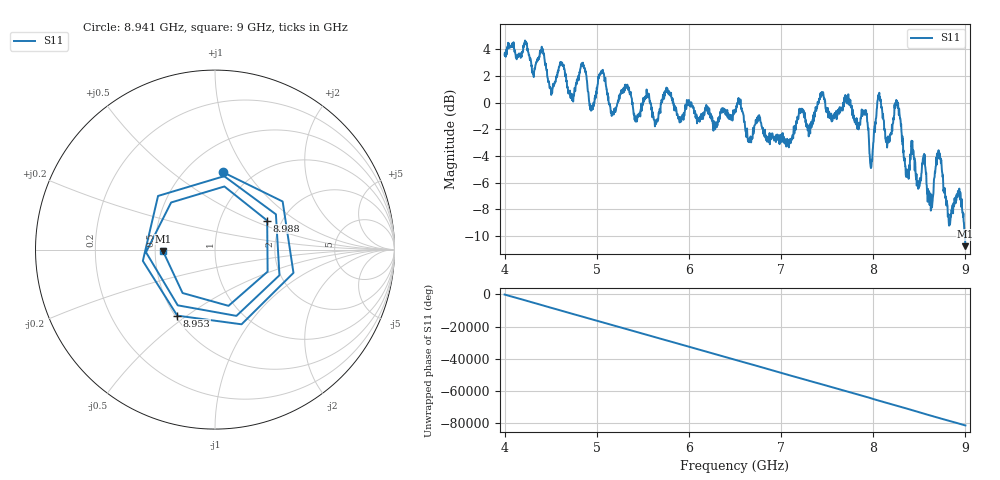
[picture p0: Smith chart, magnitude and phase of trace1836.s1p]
! Created with skrf 1.8.0 (http://scikit-rf.org).
# Hz S RI R 50.0
!freq ReS11 ImS11
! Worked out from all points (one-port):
!   1601 points, 4 GHz to 9 GHz, reference 50 ohm
!   lowest |S11| = -10.7 dB at 9 GHz (marker M1), VSWR 1.82, Z = 27.5 - j0.501 ohm
!   |S11| at or under -10 dB: 8.994867 GHz to end of sweep
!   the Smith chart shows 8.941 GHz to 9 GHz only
!   S11 on the Smith chart (normalised r, x): 8.941 GHz: 0.74, +0.78; 8.953 GHz: 0.51, -0.46; 8.988 GHz: 1.68, +0.61; 9 GHz: 0.55, -0.01
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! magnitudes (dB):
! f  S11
! 4 GHz  3.6
! 4.406 GHz  4.0
! 4.509 GHz  0.8
! 4.625 GHz  3.0
! 4.728 GHz  0.7
! 4.844 GHz  2.7
! 4.944 GHz  -0.5
! 5.053 GHz  2.2
! 5.159 GHz  -0.8
! 5.25 GHz  0.5
! 5.875 GHz  -0.8
! 6.5 GHz  -0.7
! 7.125 GHz  -2.4
! 7.75 GHz  0.1
! 7.912 GHz  -0.9
! 7.978 GHz  -4.9
! 8.059 GHz  0.6
! 8.156 GHz  -2.7
! 8.256 GHz  0.1
! 8.375 GHz  -5.3
! 8.55 GHz  -4.0
! 8.628 GHz  -7.3
! 8.716 GHz  -4.0
! 8.819 GHz  -8.9
! 8.941 GHz  -7.3
! 8.953 GHz  -7.5
! 8.988 GHz  -9.6
! 9 GHz  -10.7
